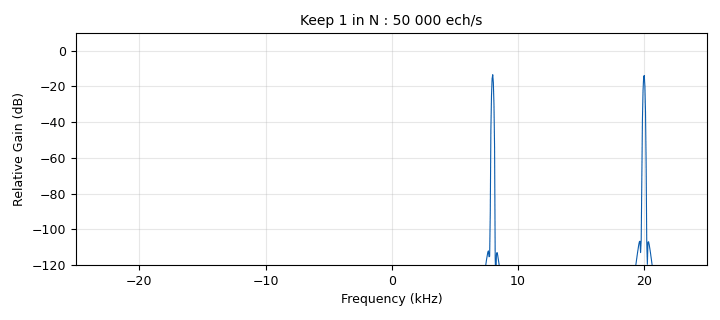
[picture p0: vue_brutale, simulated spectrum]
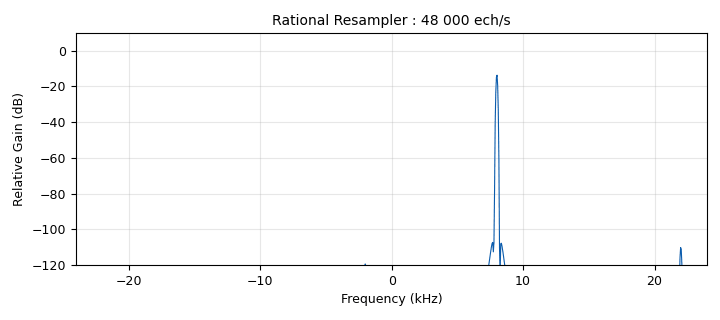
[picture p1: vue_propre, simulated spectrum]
options:
  parameters:
    generate_options: qt_gui
    id: fg_tp07_001
    output_language: python
    title: FG-TP07-001
  states: {}

blocks:
- name: decim
  id: variable
  parameters:
    value: '125'
  states: {}
- name: interp
  id: variable
  parameters:
    value: '24'
  states: {}
- name: n_entier
  id: variable
  parameters:
    value: '5'
  states: {}
- name: samp_rate
  id: variable
  parameters:
    value: '250000'
  states: {}
- name: brutal
  id: blocks_keep_one_in_n
  parameters:
    n: n_entier
    type: complex
  states: {}
- name: debit
  id: blocks_throttle2
  parameters:
    samples_per_second: samp_rate
    type: complex
  states: {}
- name: genante
  id: analog_sig_source_x
  parameters:
    amp: '0.6'
    freq: '70000'
    offset: '0'
    phase: '0'
    samp_rate: samp_rate
    type: complex
    waveform: analog.GR_COS_WAVE
  states: {}
- name: propre
  id: rational_resampler_xxx
  parameters:
    decim: decim
    interp: interp
    type: ccc
  states: {}
- name: somme
  id: blocks_add_xx
  parameters:
    type: complex
  states: {}
- name: utile
  id: analog_sig_source_x
  parameters:
    amp: '0.6'
    freq: '8000'
    offset: '0'
    phase: '0'
    samp_rate: samp_rate
    type: complex
    waveform: analog.GR_COS_WAVE
  states: {}
- name: vue_brutale
  id: qtgui_freq_sink_x
  parameters:
    average: '0.2'
    bw: samp_rate/n_entier
    fc: '0'
    fftsize: '1024'
    grid: 'True'
    gui_hint: 0,0,1,1
    legend: 'False'
    name: '"Keep 1 in N : 50 000 ech/s"'
    type: complex
    ymin: '-120'
  states: {}
- name: vue_propre
  id: qtgui_freq_sink_x
  parameters:
    average: '0.2'
    bw: samp_rate*interp/decim
    fc: '0'
    fftsize: '1024'
    grid: 'True'
    gui_hint: 1,0,1,1
    legend: 'False'
    name: '"Rational Resampler : 48 000 ech/s"'
    type: complex
    ymin: '-120'
  states: {}

connections:
- [brutal, '0', vue_brutale, '0']
- [debit, '0', brutal, '0']
- [debit, '0', propre, '0']
- [genante, '0', somme, '1']
- [propre, '0', vue_propre, '0']
- [somme, '0', debit, '0']
- [utile, '0', somme, '0']

metadata:
  file_format: 1
  grc_version: 3.10.12.0
